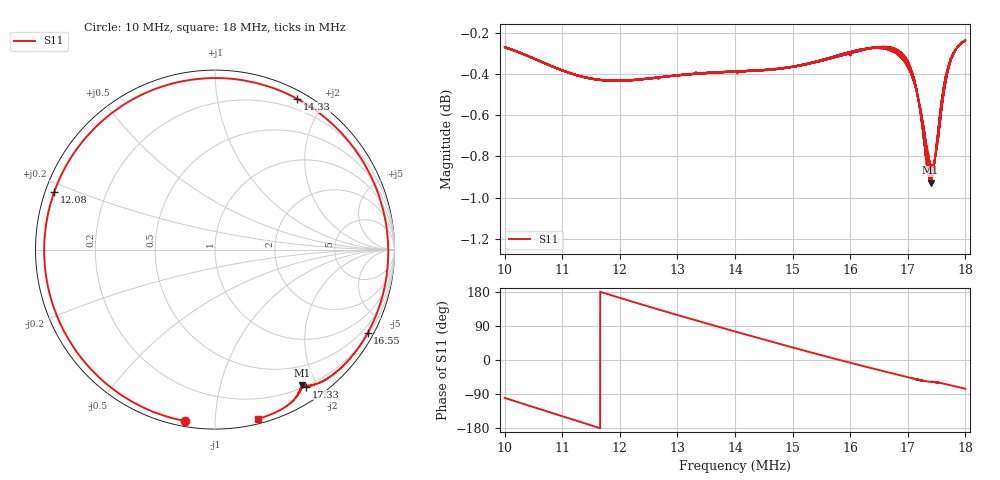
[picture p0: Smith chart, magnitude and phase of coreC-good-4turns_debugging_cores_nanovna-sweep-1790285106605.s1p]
! NanoVNA Web complex sweep
! Processing: unaveraged complex samples; linear segment spacing; no smoothing
# Hz S RI R 50
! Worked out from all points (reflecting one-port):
!   10100 points, 10 MHz to 18 MHz, reference 50 ohm
!   lowest |S11| = -0.9 dB at 17.39 MHz (marker M1), VSWR 18.75, Z = 11.5 - j90.6 ohm
!   phase of S11 starts at -100 deg and turns -336 deg over the sweep
!   S11 on the Smith chart (normalised r, x): 10 MHz: 0.03, -0.84; 12.08 MHz: 0.03, +0.17; 14.33 MHz: 0.08, +1.68; 16.55 MHz: 0.26, -3.90; 17.33 MHz: 0.19, -1.85; 18 MHz: 0.04, -1.28
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1e7  -0.1687 -0.9548
1.022651e7  -0.3463 -0.9029
1.047045e7  -0.5223 -0.8102
1.074369e7  -0.6915 -0.6662
1.10003e7  -0.8157 -0.5004
1.125215e7  -0.9004 -0.317
1.149926e7  -0.9443 -0.1258
1.174794e7  -0.9492 0.0697
1.19998e7  -0.9148 0.2621
1.2079e7  -0.8961 0.3202
1.250985e7  -0.7365 0.6043
1.30001e7  -0.4587 0.837
1.325195e7  -0.2892 0.9103
1.350143e7  -0.1122 0.9491
1.374854e7  0.0656 0.9539
1.39996e7  0.2432 0.9251
1.432749e7  0.4595 0.8393
1.464746e7  0.6432 0.7095
1.49991e7  0.8031 0.5241
1.550202e7  0.9396 0.2088
1.59994e7  0.9577 -0.1223
1.655459e7  0.8505 -0.4644
1.69989e7  0.6742 -0.6819
1.717314e7  0.585 -0.74
1.732758e7  0.5085 -0.7633
1.739411e7  0.4871 -0.7553
1.761904e7  0.4403 -0.8392
1.799841e7  0.239 -0.9434
